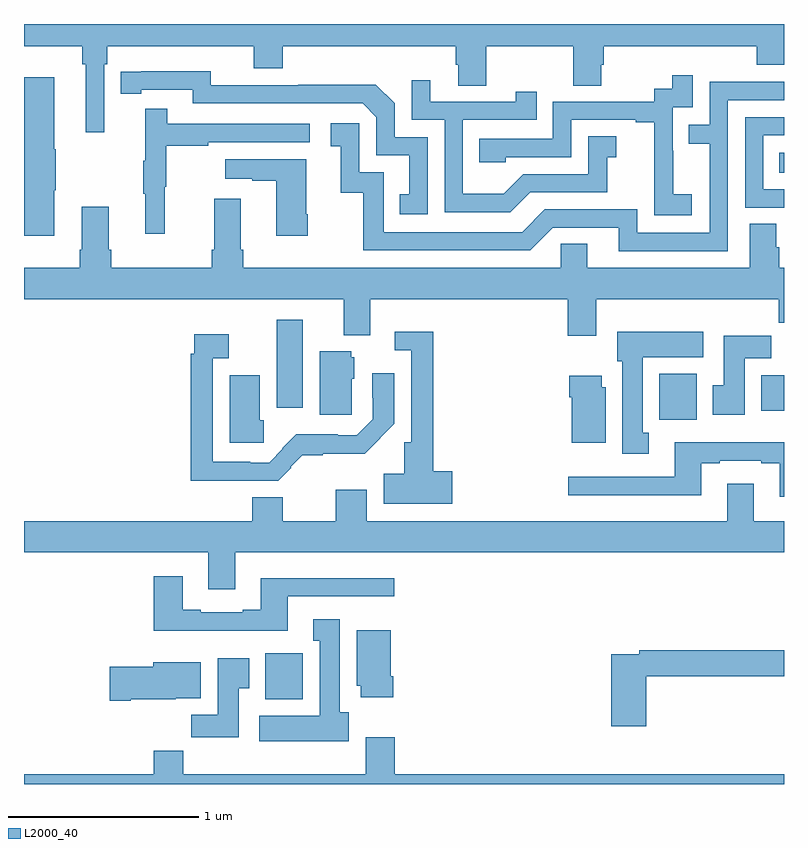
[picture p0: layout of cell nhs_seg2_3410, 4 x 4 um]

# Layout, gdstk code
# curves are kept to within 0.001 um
import gdstk
lib = gdstk.Library(unit=1e-6, precision=1e-09)
def R(c, l, rs):  # rectangles x0, y0, x1, y1
    for r in rs: c.add(gdstk.rectangle(r[:2], r[2:], *l))
def P(c, l, *ps):  # polygons
    for p in ps: c.add(gdstk.Polygon(p, *l))
L2000_40 = (2000, 40)

nhs_seg2_3410 = lib.new_cell('nhs_seg2_3410')
R(nhs_seg2_3410, L2000_40, [(292.271,596.246,292.468,596.488), (294.344,597.716,294.541,597.958), (294.881,597.764,295,597.952), (292.331,597.78,292.468,598.243), (294.976,599.018,295,599.122)])
P(nhs_seg2_3410, L2000_40, [(291.423,599.588),(291.437,599.588),(291.437,599.684),(292.208,599.684),(292.208,599.567),(292.361,599.567),(292.361,599.684),(293.273,599.684),(293.273,599.586),(293.285,599.586),(293.285,599.476),(293.433,599.476),(293.433,599.684),(293.89,599.684),(293.89,599.476),(294.037,599.476),(294.037,599.586),(294.05,599.586),(294.05,599.684),(294.857,599.684),(294.857,599.585),(295,599.585),(295,599.8),(291,599.8),(291,599.684),(291.307,599.684),(291.307,599.588),(291.326,599.588),(291.326,599.229),(291.423,599.229)],
  [(293.124,599.205),(292.95,599.205),(292.95,599.382),(292.852,599.48),(292.444,599.48),(292.444,599.478),(291.984,599.478),(291.984,599.551),(291.508,599.55),(291.508,599.434),(291.616,599.434),(291.616,599.454),(291.888,599.454),(291.888,599.382),(292.782,599.382),(292.854,599.31),(292.854,599.109),(293.027,599.109),(293.027,598.905),(292.978,598.905),(292.978,598.8),(293.124,598.8)],
  [(294.514,598.903),(294.416,598.903),(294.416,599.132),(294.414,599.132),(294.414,599.361),(294.519,599.361),(294.519,599.53),(294.411,599.53),(294.411,599.46),(294.318,599.46),(294.318,599.391),(293.784,599.391),(293.784,599.196),(293.395,599.196),(293.395,599.073),(293.535,599.073),(293.535,599.1),(293.88,599.1),(293.88,599.295),(294.221,599.295),(294.221,599.283),(294.317,599.283),(294.317,598.999),(294.316,598.999),(294.316,598.793),(294.514,598.793)],
  [(291.16,598.924),(291.168,598.924),(291.168,599.141),(291.16,599.141),(291.16,599.521),(291.002,599.521),(291.002,598.686),(291.16,598.686)],
  [(293.665,598.914),(294.069,598.914),(294.069,599.099),(294.118,599.099),(294.118,599.209),(293.97,599.209),(293.97,599.01),(293.628,599.01),(293.524,598.906),(293.31,598.906),(293.31,599.295),(293.699,599.295),(293.699,599.443),(293.588,599.443),(293.588,599.391),(293.137,599.391),(293.137,599.503),(293.04,599.503),(293.04,599.295),(293.214,599.295),(293.214,598.809),(293.56,598.809)],
  [(294.705,599.4),(295,599.4),(295,599.496),(294.609,599.496),(294.609,599.271),(294.499,599.271),(294.499,599.17),(294.609,599.17),(294.609,598.701),(294.228,598.701),(294.228,598.824),(293.742,598.824),(293.622,598.704),(292.893,598.704),(292.893,599.019),(292.764,599.019),(292.764,599.278),(292.614,599.278),(292.614,599.157),(292.667,599.157),(292.667,598.911),(292.785,598.911),(292.785,598.608),(293.664,598.608),(293.784,598.728),(294.131,598.728),(294.131,598.605),(294.705,598.605)],
  [(291.74,598.944),(291.748,598.944),(291.748,599.158),(291.971,599.158),(291.971,599.178),(292.504,599.178),(292.504,599.274),(291.755,599.274),(291.755,599.353),(291.638,599.353),(291.638,599.081),(291.627,599.081),(291.627,598.907),(291.638,598.907),(291.638,598.695),(291.74,598.695)],
  [(295,598.929),(294.891,598.929),(294.891,599.214),(295,599.214),(295,599.31),(294.795,599.31),(294.795,598.833),(295,598.833)],
  [(292.494,598.798),(292.486,598.798),(292.486,599.089),(292.059,599.089),(292.059,598.985),(292.202,598.985),(292.202,598.975),(292.328,598.975),(292.328,598.686),(292.494,598.686)],
  [(294.013,598.352),(294.973,598.352),(294.973,598.228),(295,598.228),(295,598.516),(294.974,598.516),(294.974,598.625),(294.96,598.625),(294.96,598.748),(294.821,598.748),(294.821,598.516),(293.965,598.516),(293.965,598.643),(293.826,598.643),(293.826,598.516),(292.154,598.516),(292.154,598.612),(292.141,598.612),(292.141,598.879),(292.001,598.879),(292.001,598.612),(291.989,598.612),(291.989,598.516),(291.458,598.516),(291.458,598.612),(291.445,598.612),(291.445,598.837),(291.305,598.837),(291.305,598.612),(291.293,598.612),(291.293,598.516),(291,598.516),(291,598.352),(292.682,598.352),(292.682,598.163),(292.822,598.163),(292.822,598.352),(293.861,598.352),(293.861,598.158),(294.013,598.158)],
  [(294.289,597.65),(294.256,597.65),(294.256,598.046),(294.574,598.046),(294.574,598.18),(294.122,598.18),(294.122,598.026),(294.149,598.026),(294.149,597.537),(294.289,597.537)],
  [(293.254,597.446),(293.153,597.446),(293.153,598.18),(292.95,598.18),(292.95,598.083),(293.037,598.083),(293.037,597.6),(293.001,597.6),(293.001,597.433),(292.893,597.433),(292.893,597.275),(293.254,597.275)],
  [(292.407,597.465),(292.403,597.469),(292.465,597.531),(292.573,597.531),(292.573,597.539),(292.793,597.539),(292.948,597.696),(292.948,597.961),(292.832,597.961),(292.832,597.833),(292.836,597.833),(292.836,597.72),(292.752,597.636),(292.652,597.636),(292.652,597.641),(292.433,597.641),(292.359,597.567),(292.362,597.564),(292.29,597.492),(292.19,597.492),(292.19,597.496),(291.993,597.496),(291.993,598.04),(292.078,598.04),(292.078,598.168),(291.897,598.168),(291.897,598.064),(291.877,598.064),(291.877,597.395),(292.337,597.395)],
  [(294.793,598.04),(294.932,598.04),(294.932,598.159),(294.683,598.159),(294.683,597.9),(294.626,597.9),(294.626,597.744),(294.793,597.744)],
  [(292.725,597.933),(292.738,597.933),(292.738,598.047),(292.722,598.047),(292.722,598.078),(292.556,598.078),(292.556,597.744),(292.725,597.744)],
  [(292.263,597.714),(292.24,597.714),(292.24,597.952),(292.082,597.952),(292.082,597.597),(292.263,597.597)],
  [(294.061,597.888),(294.04,597.888),(294.04,597.949),(293.87,597.949),(293.87,597.836),(293.882,597.836),(293.882,597.596),(294.061,597.596)],
  [(295,597.598),(294.425,597.598),(294.425,597.417),(293.865,597.417),(293.865,597.32),(294.565,597.32),(294.565,597.489),(294.661,597.489),(294.661,597.501),(294.881,597.501),(294.881,597.489),(294.977,597.489),(294.977,597.312),(295,597.312)],
  [(292.111,597.02),(295,597.02),(295,597.184),(294.841,597.184),(294.841,597.379),(294.701,597.379),(294.701,597.184),(292.804,597.184),(292.804,597.349),(292.64,597.349),(292.64,597.184),(292.363,597.184),(292.363,597.31),(292.202,597.31),(292.202,597.184),(291,597.184),(291,597.02),(291.971,597.02),(291.971,596.826),(292.111,596.826)],
  [(292.387,596.787),(292.948,596.787),(292.948,596.884),(292.247,596.884),(292.247,596.716),(292.151,596.716),(292.151,596.703),(291.931,596.703),(291.931,596.716),(291.835,596.716),(291.835,596.893),(291.683,596.893),(291.683,596.606),(292.387,596.606)],
  [(292.708,596.178),(292.663,596.178),(292.663,596.668),(292.523,596.668),(292.523,596.555),(292.556,596.555),(292.556,596.158),(292.239,596.158),(292.239,596.024),(292.708,596.024)],
  [(292.943,596.368),(292.93,596.368),(292.93,596.608),(292.751,596.608),(292.751,596.316),(292.772,596.316),(292.772,596.256),(292.943,596.256)],
  [(294.275,596.368),(295,596.368),(295,596.504),(294.238,596.504),(294.238,596.484),(294.092,596.484),(294.092,596.103),(294.275,596.103)],
  [(292.129,596.305),(292.186,596.305),(292.186,596.461),(292.019,596.461),(292.019,596.164),(291.88,596.164),(291.88,596.046),(292.129,596.046)],
  [(291.562,596.246),(291.798,596.246),(291.798,596.252),(291.931,596.252),(291.931,596.44),(291.68,596.44),(291.68,596.417),(291.45,596.417),(291.45,596.239),(291.562,596.239)],
  [(295,595.852),(292.952,595.852),(292.952,596.047),(292.799,596.047),(292.799,595.852),(291.839,595.852),(291.839,595.976),(291.683,595.976),(291.683,595.852),(291,595.852),(291,595.8),(295,595.8)])

lib.write_gds('nhs_seg2_3410.gds')
